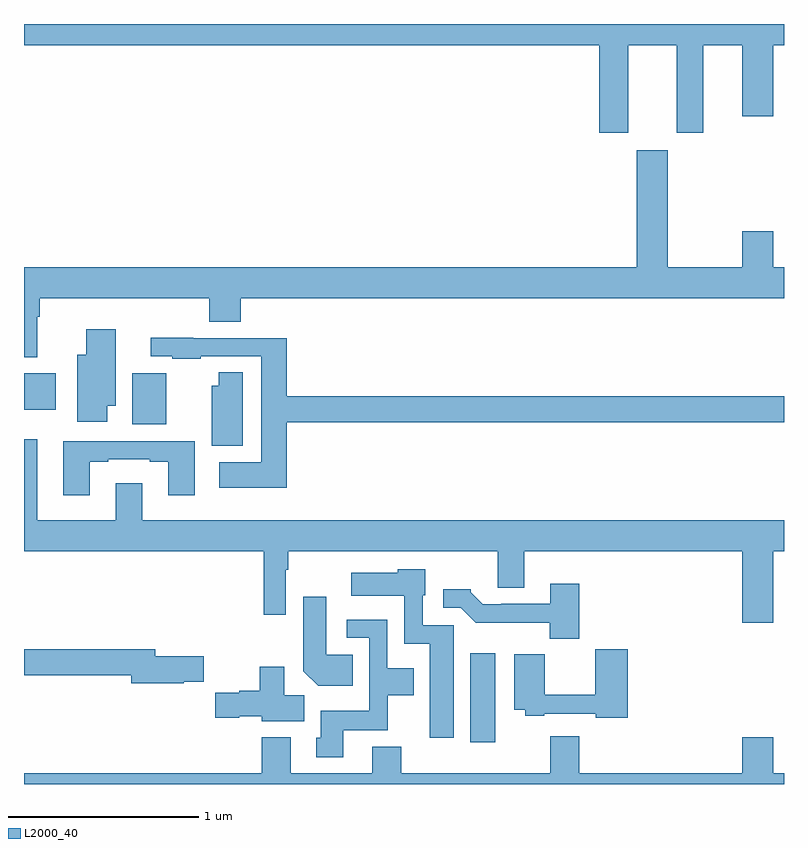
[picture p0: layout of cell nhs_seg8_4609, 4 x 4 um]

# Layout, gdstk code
import gdstk
lib = gdstk.Library(unit=1e-6, precision=1e-09)
def R(c, l, rs):  # rectangles x0, y0, x1, y1
    for r in rs: c.add(gdstk.rectangle(r[:2], r[2:], *l))
def P(c, l, *ps):  # polygons
    for p in ps: c.add(gdstk.Polygon(p, *l))
L2000_40 = (2000, 40)

nhs_seg8_4609 = lib.new_cell('nhs_seg8_4609')
R(nhs_seg8_4609, L2000_40, [(391.349,1158.12,391.48,1158.589), (389.57,1159.793,389.749,1160.062), (389,1159.871,389.167,1160.062)])
P(nhs_seg8_4609, L2000_40, [(392.179,1161.788),(392.435,1161.788),(392.435,1161.327),(392.575,1161.327),(392.575,1161.788),(392.78,1161.788),(392.78,1161.414),(392.944,1161.414),(392.944,1161.788),(393,1161.788),(393,1161.9),(389,1161.9),(389,1161.788),(392.027,1161.788),(392.027,1161.327),(392.179,1161.327)],
  [(389.071,1160.36),(389.084,1160.36),(389.084,1160.456),(389.975,1160.456),(389.975,1160.332),(390.14,1160.332),(390.14,1160.456),(393,1160.456),(393,1160.62),(392.944,1160.62),(392.944,1160.809),(392.78,1160.809),(392.78,1160.62),(392.389,1160.62),(392.389,1161.235),(392.225,1161.235),(392.225,1160.62),(389,1160.62),(389,1160.147),(389.071,1160.147)],
  [(389.437,1159.892),(389.482,1159.892),(389.482,1160.293),(389.327,1160.293),(389.327,1160.158),(389.279,1160.158),(389.279,1159.806),(389.437,1159.806)],
  [(390.383,1159.804),(393,1159.804),(393,1159.94),(390.383,1159.94),(390.383,1160.247),(389.891,1160.247),(389.891,1160.249),(389.667,1160.249),(389.667,1160.151),(389.779,1160.151),(389.779,1160.139),(389.93,1160.139),(389.93,1160.151),(390.248,1160.151),(390.248,1159.594),(390.027,1159.594),(390.027,1159.46),(390.383,1159.46)],
  [(390.151,1160.066),(390.026,1160.066),(390.026,1159.996),(389.987,1159.996),(389.987,1159.679),(390.151,1159.679)],
  [(392.944,1159.124),(393,1159.124),(393,1159.288),(389.623,1159.288),(389.623,1159.483),(389.483,1159.483),(389.483,1159.288),(389.071,1159.288),(389.071,1159.714),(389,1159.714),(389,1159.124),(390.262,1159.124),(390.262,1158.792),(390.378,1158.792),(390.378,1159.028),(390.391,1159.028),(390.391,1159.124),(391.493,1159.124),(391.493,1158.934),(391.633,1158.934),(391.633,1159.124),(392.78,1159.124),(392.78,1158.75),(392.944,1158.75)],
  [(389.347,1159.596),(389.443,1159.596),(389.443,1159.608),(389.663,1159.608),(389.663,1159.596),(389.759,1159.596),(389.759,1159.419),(389.899,1159.419),(389.899,1159.704),(389.207,1159.704),(389.207,1159.419),(389.347,1159.419)],
  [(391.261,1158.735),(391.098,1158.735),(391.098,1158.894),(391.111,1158.894),(391.111,1159.03),(390.966,1159.03),(390.966,1159.012),(390.723,1159.012),(390.723,1158.89),(391.002,1158.89),(391.002,1158.638),(391.136,1158.638),(391.136,1158.144),(391.261,1158.144)],
  [(391.922,1158.955),(391.769,1158.955),(391.769,1158.849),(391.513,1158.849),(391.513,1158.846),(391.414,1158.846),(391.35,1158.91),(391.35,1158.925),(391.206,1158.925),(391.206,1158.828),(391.299,1158.828),(391.378,1158.75),(391.767,1158.75),(391.767,1158.665),(391.922,1158.665)],
  [(390.731,1158.58),(390.592,1158.58),(390.592,1158.886),(390.47,1158.886),(390.47,1158.494),(390.548,1158.416),(390.731,1158.416)],
  [(390.679,1158.182),(390.915,1158.182),(390.915,1158.368),(391.051,1158.368),(391.051,1158.508),(390.912,1158.508),(390.912,1158.765),(390.699,1158.765),(390.699,1158.669),(390.816,1158.669),(390.816,1158.286),(390.563,1158.286),(390.563,1158.144),(390.539,1158.144),(390.539,1158.042),(390.679,1158.042)],
  [(392.177,1158.61),(392.006,1158.61),(392.006,1158.371),(391.742,1158.371),(391.742,1158.583),(391.58,1158.583),(391.58,1158.29),(391.638,1158.29),(391.638,1158.258),(391.738,1158.258),(391.738,1158.27),(392.01,1158.27),(392.01,1158.25),(392.177,1158.25)],
  [(389.84,1158.438),(389.945,1158.438),(389.945,1158.572),(389.692,1158.572),(389.692,1158.608),(389,1158.608),(389,1158.472),(389.564,1158.472),(389.564,1158.43),(389.84,1158.43)],
  [(390.475,1158.368),(390.37,1158.368),(390.37,1158.517),(390.241,1158.517),(390.241,1158.392),(390.132,1158.392),(390.132,1158.38),(390.007,1158.38),(390.007,1158.25),(390.132,1158.25),(390.132,1158.257),(390.252,1158.257),(390.252,1158.23),(390.475,1158.23)],
  [(393,1157.956),(392.944,1157.956),(392.944,1158.145),(392.78,1158.145),(392.78,1157.956),(391.922,1157.956),(391.922,1158.151),(391.769,1158.151),(391.769,1157.956),(390.986,1157.956),(390.986,1158.097),(390.833,1158.097),(390.833,1157.956),(390.403,1157.956),(390.403,1158.145),(390.251,1158.145),(390.251,1157.956),(389,1157.956),(389,1157.9),(393,1157.9)])

lib.write_gds('nhs_seg8_4609.gds')
